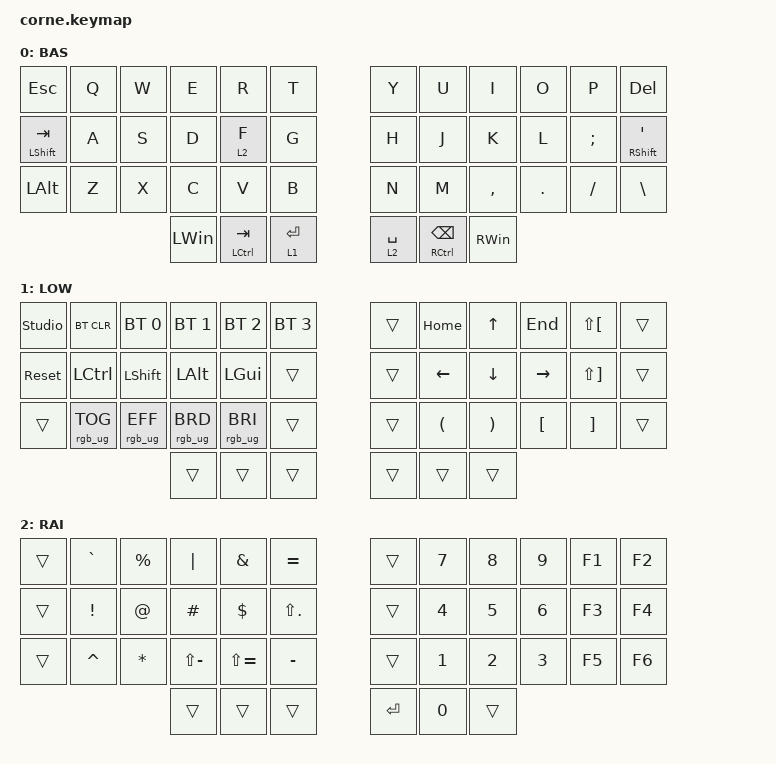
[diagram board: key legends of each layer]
/*
 * Copyright (c) 2020 The ZMK Contributors
 *
 * SPDX-License-Identifier: MIT
 */

#include <behaviors.dtsi>
#include <dt-bindings/zmk/keys.h>
#include <dt-bindings/zmk/bt.h>
#include <dt-bindings/zmk/outputs.h>
#include <dt-bindings/zmk/ext_power.h>
#include <dt-bindings/led/led.h>
#include <dt-bindings/zmk/backlight.h>
#include <dt-bindings/zmk/rgb.h>
#include <dt-bindings/zmk/reset.h>

&led_strip {
    chain-length = <27>;
};

/ {
    keymap {
        compatible = "zmk,keymap";

        default_layer {
            display-name = "BAS";
            // -----------------------------------------------------------------------------------------
            // |  ESC |  Q  |  W  |  E  |  R  |  T  |   |  Y  |  U   |  I  |  O  |  P  | BKSP |
            // | SHFT |  A  |  S  |  D  |  F  |  G  |   |  H  |  J   |  K  |  L  |  ;  |  '   |
            // | ALT |  Z  |  X  |  C  |  V  |  B  |   |  N  |  M   |  ,  |  .  |  /  | GUI  |
            //                    | TAB | LWR | ENT |   | SPC | RSE  | ALT |

            bindings = <
&kp ESC     &kp Q   &kp W   &kp E    &kp R          &kp T           &kp Y       &kp U           &kp I      &kp O    &kp P     &kp DEL
&mt LSHFT TAB   &kp A   &kp S   &kp D    &lt 2 F        &kp G           &kp H       &kp J           &kp K      &kp L    &kp SEMI  &mt RSHFT SQT
&kp LALT    &kp Z   &kp X   &kp C    &kp V          &kp B           &kp N       &kp M           &kp COMMA  &kp DOT  &kp FSLH  &kp BSLH
                            &kp LWIN &mt LCTRL TAB  &lt 1 RET       &lt 2 SPACE &mt RCTRL BSPC  &kp RWIN
            >;
        };

        lower_layer {
            display-name = "LOW";
            // -----------------------------------------------------------------------------------------
            // |  TAB |  1  |  2  |  3  |  4  |  5  |     |  6  |  7  |  8  |  9  |  0  | BKSP |
            // | LCTRL| BTCLR | BT0 | BT1 | BT2 | BT3 |   |     |     |  UP |     |     |      |
            // | ESC  |       | HOME| PGUP| PGDN| END |   |     | LFT | DWN | RGT |     |      |
            //                    | GUI |     | SPC |   | ENT |     | ALT |

            bindings = <
&studio_unlock  &bt BT_CLR          &bt BT_SEL 0    &bt BT_SEL 1    &bt BT_SEL 2    &bt BT_SEL 3    &trans  &kp HOME    &kp UP      &kp END     &kp LS(LBKT)    &trans
&sys_reset      &kp LCTRL           &kp LSHFT       &kp LALT        &kp LGUI        &trans          &trans  &kp LEFT    &kp DOWN    &kp RIGHT   &kp LS(RBKT)    &trans
&trans          &rgb_ug  RGB_TOG    &rgb_ug RGB_EFF &rgb_ug RGB_BRD &rgb_ug RGB_BRI &trans          &trans  &kp LPAR    &kp RPAR    &kp LBKT    &kp RBKT        &trans
                                                    &trans          &trans          &trans          &trans  &trans      &trans
            >;
        };

        raise_layer {
            display-name = "RAI";
            // -----------------------------------------------------------------------------------------
            // |  TAB |  !  |  @  |  #  |  $  |  %  |   |  ^  |  &  |  *  |  (  |  )  | BKSP |
            // | CTRL |RGB_TOG|RGB_HUI|RGB_SAI|RGB_VAI|       |   |  -  |  =  |  [  |  ]  |  \  |  `   |
            // | SHFT |RGB_MOD|RGB_HUD|RGB_SAD|RGB_VAD|QK_BOOT|   |  _  |  +  |  {  |  }  | "|" |  ~   |
            //                    | GUI |     | SPC |   | ENT |     | ALT |

            bindings = <
&trans  &kp GRAVE   &kp PRCNT   &kp PIPE        &kp AMPS        &kp EQUAL       &trans  &kp N7  &kp N8  &kp N9  &kp F1  &kp F2
&trans  &kp EXCL    &kp AT      &kp HASH        &kp DLLR        &kp LS(DOT)     &trans  &kp N4  &kp N5  &kp N6  &kp F3 &kp F4
&trans  &kp CARET   &kp ASTRK   &kp LS(MINUS)   &kp LS(EQUAL)   &kp MINUS       &trans  &kp N1  &kp N2  &kp N3  &kp F5 &kp F6
                                &trans          &trans          &trans          &kp RET &kp N0  &trans
            >;
        };
        extra_1 {
            status = "reserved";
        };

        extra_2 {
            status = "reserved";
        };

        extra_3 {
            status = "reserved";
        };
    };
};
